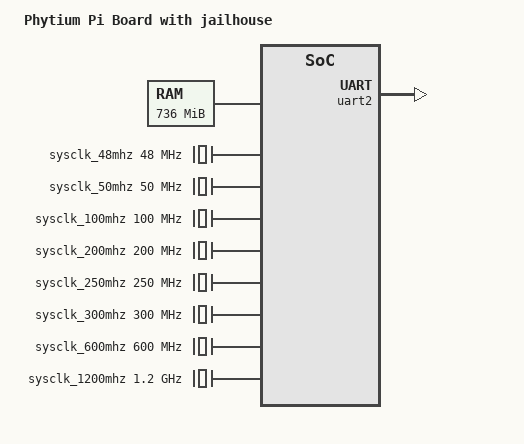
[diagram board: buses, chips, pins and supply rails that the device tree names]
/*
 * Jailhouse, a Linux-based partitioning hypervisor
 *
 * Device tree for linux test on Phytium Pi,
 * corresponds to configs/arm64/phytiumpi-linux.c
 *
 * Copyright (c) 2022-2024 ZCShou
 *
 * Authors:
 *  ZCShou <72115@163.com>
 *
 * This work is licensed under the terms of the GNU GPL, version 2.  See
 * the COPYING file in the top-level directory.
 */

#include <dt-bindings/interrupt-controller/arm-gic.h>

/dts-v1/;
/memreserve/ 0xb2000000 0x10000;

/ {
	compatible = "phytium,pe2204";
	interrupt-parent = <&gic>;
	#address-cells = <0x02>;
	#size-cells = <0x02>;
	model = "Phytium Pi Board with jailhouse";

	hypervisor {
		compatible = "jailhouse,cell";
	};

	aliases {
		serial1 = &uart2;
	};

	chosen {
		stdout-path = "serial1:115200n8";
	};

	memory@b1000000 {
		reg = <0x00000000 0xb2000000 0x00000000 0x2e000000>;
		device_type = "memory";
	};

	psci {
		compatible   = "arm,psci-1.0";
		method       = "smc";
		cpu_suspend  = <0xc4000001>;
		cpu_off      = <0x84000002>;
		cpu_on       = <0xc4000003>;
		sys_poweroff = <0x84000008>;
		sys_reset    = <0x84000009>;
	};

	cpus {
		#address-cells = <0x02>;
		#size-cells = <0x00>;

		cpu-map {
			cluster0 {
				core0 {
					cpu = <&cpu_b0>;
				};
			};

			cluster1 {
				core0 {
					cpu = <&cpu_b1>;
				};
			};
		};

		cpu_b0: cpu@100 {
			device_type = "cpu";
			compatible = "phytium,ftc664", "arm,armv8";
			reg = <0x0 0x0>;
			enable-method = "psci";
			capacity-dmips-mhz = <5660>;
		};

		cpu_b1: cpu@101 {
			device_type = "cpu";
			compatible = "phytium,ftc664", "arm,armv8";
			reg = <0x0 0x100>;
			enable-method = "psci";
			capacity-dmips-mhz = <5660>;
		};
	};

	gic: interrupt-controller@30800000 {
		compatible = "arm,gic-v3";
		#interrupt-cells = <3>;
		#address-cells = <2>;
		#size-cells = <2>;
		ranges;
		interrupt-controller;
		reg = <0x0 0x30800000 0 0x20000>,	/* GICD */
		      <0x0 0x30880000 0 0x80000>,	/* GICR */
		      <0x0 0x30840000 0 0x10000>,	/* GICC */
		      <0x0 0x30850000 0 0x10000>,	/* GICH */
		      <0x0 0x30860000 0 0x10000>;	/* GICV */
		interrupts = <GIC_PPI 9 IRQ_TYPE_LEVEL_LOW>;

		its: gic-its@30820000 {
			compatible = "arm,gic-v3-its";
			msi-controller;
			reg = <0x0 0x30820000 0x0 0x20000>;
		};
	};

	pmu {
		compatible = "arm,armv8-pmuv3";
		interrupts = <GIC_PPI 7 IRQ_TYPE_LEVEL_LOW>;
	};

	timer {
		compatible = "arm,armv8-timer";
		interrupts = <GIC_PPI 13 IRQ_TYPE_LEVEL_LOW>,
			     <GIC_PPI 14 IRQ_TYPE_LEVEL_LOW>,
			     <GIC_PPI 11 IRQ_TYPE_LEVEL_LOW>,
			     <GIC_PPI 10 IRQ_TYPE_LEVEL_LOW>;
		clock-frequency = <50000000>;
	};

	clocks {
		#address-cells = <2>;
		#size-cells = <2>;
		ranges;

		sysclk_48mhz: clk48mhz {
			compatible = "fixed-clock";
			#clock-cells = <0>;
			clock-frequency = <48000000>;
		};

		sysclk_50mhz: clk50mhz {
			compatible = "fixed-clock";
			#clock-cells = <0>;
			clock-frequency = <50000000>;
		};

		sysclk_100mhz: clk100mhz {
			compatible = "fixed-clock";
			#clock-cells = <0>;
			clock-frequency = <100000000>;
		};

		sysclk_200mhz: clk200mhz {
			compatible = "fixed-clock";
			#clock-cells = <0>;
			clock-frequency = <200000000>;
		};

		sysclk_250mhz: clk250mhz {
			compatible = "fixed-clock";
			#clock-cells = <0>;
			clock-frequency = <250000000>;
		};

		sysclk_300mhz: clk300mhz {
			compatible = "fixed-clock";
			#clock-cells = <0>;
			clock-frequency = <300000000>;
		};

		sysclk_600mhz: clk600mhz {
			compatible = "fixed-clock";
			#clock-cells = <0>;
			clock-frequency = <600000000>;
		};

		sysclk_1200mhz: clk1200mhz {
			compatible = "fixed-clock";
			#clock-cells = <0>;
			clock-frequency = <1200000000>;
		};
	};

	smmu: iommu@30000000 {
		compatible = "arm,smmu-v3";
		reg = <0x0 0x30000000 0x0 0x800000>;
		interrupts = <GIC_SPI 240 IRQ_TYPE_EDGE_RISING>,
			     <GIC_SPI 239 IRQ_TYPE_EDGE_RISING>,
			     <GIC_SPI 236 IRQ_TYPE_EDGE_RISING>,
			     <GIC_SPI 242 IRQ_TYPE_EDGE_RISING>;
		interrupt-names = "eventq", "priq", "cmdq-sync", "gerror";
		dma-coherent;
		#iommu-cells = <1>;
		status = "disabled";
	};

	soc {
		compatible = "simple-bus";
		#address-cells = <0x02>;
		#size-cells = <0x02>;
		dma-coherent;
		ranges;

		uart2: uart@2800e000 {
			compatible = "arm,pl011","arm,primecell";
			reg = <0x0 0x2800e000 0x0 0x1000>;
			interrupts = <GIC_SPI 85 IRQ_TYPE_LEVEL_HIGH>;
			clocks = <&sysclk_100mhz &sysclk_100mhz>;
			clock-names = "uartclk", "apb_pclk";
			status = "okay";
		};

		pcie: pcie@40000000 {
			compatible = "pci-host-ecam-generic";
			device_type = "pci";
			#address-cells = <3>;
			#size-cells = <2>;
			#interrupt-cells = <1>;
			reg = <0x0 0x40000000 0x0 0x10000000>;
			msi-parent = <&its>;
			bus-range = <0x0 0xff>;
			interrupt-map-mask = <0x0 0x0 0x0 0x7>;
			interrupt-map = <0x0 0x0 0x0 0x1 &gic 0x0 0x0 GIC_SPI 4 IRQ_TYPE_LEVEL_HIGH>,
					<0x0 0x0 0x0 0x2 &gic 0x0 0x0 GIC_SPI 5 IRQ_TYPE_LEVEL_HIGH>,
					<0x0 0x0 0x0 0x3 &gic 0x0 0x0 GIC_SPI 6 IRQ_TYPE_LEVEL_HIGH>,
					<0x0 0x0 0x0 0x4 &gic 0x0 0x0 GIC_SPI 7 IRQ_TYPE_LEVEL_HIGH>;
			ranges = <0x01000000 0x00 0x00000000 0x0  0x50000000  0x0  0x00f00000>,
				 <0x02000000 0x00 0x58000000 0x0  0x58000000  0x0  0x28000000>,
				 <0x03000000 0x10 0x00000000 0x10 0x00000000 0x10  0x00000000>;
			status = "disabled";
		};
	};
};
